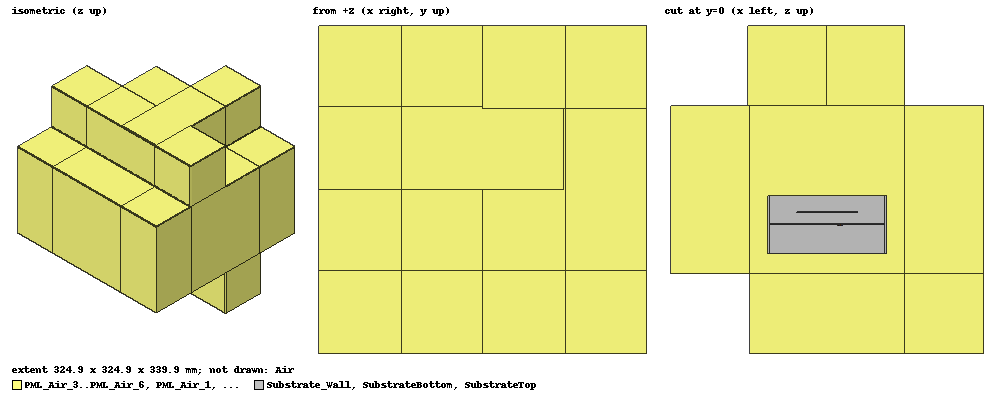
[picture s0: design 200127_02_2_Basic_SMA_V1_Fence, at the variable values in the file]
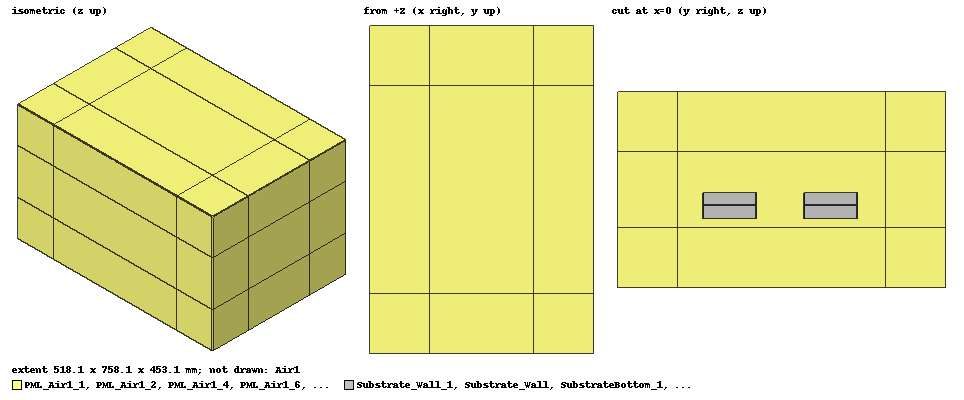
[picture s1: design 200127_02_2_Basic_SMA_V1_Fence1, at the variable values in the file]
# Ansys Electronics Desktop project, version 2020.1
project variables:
  $Er = 4.45
  $W = 10mm
  $L = 10mm
  $h = 1.6mm
  $y0 = 9mm
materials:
  FR4_new_Adj: permittivity=$Er dielectric_loss_tangent=0.019 delta_H_freq=1000000
  PMLGroup1_XYZ_9: permittivity{anisotropic component1=1.1629501 component2=1.1629501 component3=1.1629501} permeability{anisotropic component1=1.1629501 component2=1.1629501 component3=1.1629501} dielectric_loss_tangent{anisotropic component1=1 component2=1 component3=1} magnetic_loss_tangent{anisotropic component1=1 component2=1 component3=1}
  PMLGroup1_XZ_9: permittivity{anisotropic component1=1 component2=0.01 component3=1} permeability{anisotropic component1=1 component2=0.01 component3=1} dielectric_loss_tangent{anisotropic component1=0 component2=270.4906 component3=0} magnetic_loss_tangent{anisotropic component1=0 component2=270.4906 component3=0}
  PMLGroup1_YZ_9: permittivity{anisotropic component1=0.01 component2=1 component3=1} permeability{anisotropic component1=0.01 component2=1 component3=1} dielectric_loss_tangent{anisotropic component1=270.4906 component2=0 component3=0} magnetic_loss_tangent{anisotropic component1=270.4906 component2=0 component3=0}
  PMLGroup1_Z_9: permittivity{anisotropic component1=1.1629501 component2=1.1629501 component3=0.42994105} permeability{anisotropic component1=1.1629501 component2=1.1629501 component3=0.42994105} dielectric_loss_tangent{anisotropic component1=1 component2=1 component3=-1} magnetic_loss_tangent{anisotropic component1=1 component2=1 component3=-1}
  Teflon (tm): permittivity=2.1 dielectric_loss_tangent=0.001
  copper: permeability=0.999991 conductivity=58000000
  vacuum: permittivity=1
  PMLGroup1_Z_10: permittivity{anisotropic component1=1.1629501 component2=1.1629501 component3=0.42994105} permeability{anisotropic component1=1.1629501 component2=1.1629501 component3=0.42994105} dielectric_loss_tangent{anisotropic component1=1 component2=1 component3=-1} magnetic_loss_tangent{anisotropic component1=1 component2=1 component3=-1}
  PMLGroup1_XZ_10: permittivity{anisotropic component1=1 component2=0.01 component3=1} permeability{anisotropic component1=1 component2=0.01 component3=1} dielectric_loss_tangent{anisotropic component1=0 component2=270.4906 component3=0} magnetic_loss_tangent{anisotropic component1=0 component2=270.4906 component3=0}
  PMLGroup1_YZ_10: permittivity{anisotropic component1=0.01 component2=1 component3=1} permeability{anisotropic component1=0.01 component2=1 component3=1} dielectric_loss_tangent{anisotropic component1=270.4906 component2=0 component3=0} magnetic_loss_tangent{anisotropic component1=270.4906 component2=0 component3=0}
  PMLGroup1_XYZ_10: permittivity{anisotropic component1=1.1629501 component2=1.1629501 component3=1.1629501} permeability{anisotropic component1=1.1629501 component2=1.1629501 component3=1.1629501} dielectric_loss_tangent{anisotropic component1=1 component2=1 component3=1} magnetic_loss_tangent{anisotropic component1=1 component2=1 component3=1}
  PMLGroup1_Z_11: permittivity{anisotropic component1=1.1629501 component2=1.1629501 component3=0.42994105} permeability{anisotropic component1=1.1629501 component2=1.1629501 component3=0.42994105} dielectric_loss_tangent{anisotropic component1=1 component2=1 component3=-1} magnetic_loss_tangent{anisotropic component1=1 component2=1 component3=-1}
  PMLGroup1_XZ_11: permittivity{anisotropic component1=1 component2=0.01 component3=1} permeability{anisotropic component1=1 component2=0.01 component3=1} dielectric_loss_tangent{anisotropic component1=0 component2=270.4906 component3=0} magnetic_loss_tangent{anisotropic component1=0 component2=270.4906 component3=0}
  PMLGroup1_YZ_11: permittivity{anisotropic component1=0.01 component2=1 component3=1} permeability{anisotropic component1=0.01 component2=1 component3=1} dielectric_loss_tangent{anisotropic component1=270.4906 component2=0 component3=0} magnetic_loss_tangent{anisotropic component1=270.4906 component2=0 component3=0}
  PMLGroup1_XYZ_11: permittivity{anisotropic component1=1.1629501 component2=1.1629501 component3=1.1629501} permeability{anisotropic component1=1.1629501 component2=1.1629501 component3=1.1629501} dielectric_loss_tangent{anisotropic component1=1 component2=1 component3=1} magnetic_loss_tangent{anisotropic component1=1 component2=1 component3=1}
  PMLGroup2_Z_1: permittivity{anisotropic component1=1.1629501 component2=1.1629501 component3=0.42994105} permeability{anisotropic component1=1.1629501 component2=1.1629501 component3=0.42994105} dielectric_loss_tangent{anisotropic component1=1 component2=1 component3=-1} magnetic_loss_tangent{anisotropic component1=1 component2=1 component3=-1}
  PMLGroup2_XZ_1: permittivity{anisotropic component1=1 component2=0.01 component3=1} permeability{anisotropic component1=1 component2=0.01 component3=1} dielectric_loss_tangent{anisotropic component1=0 component2=270.4906 component3=0} magnetic_loss_tangent{anisotropic component1=0 component2=270.4906 component3=0}
  PMLGroup2_YZ_1: permittivity{anisotropic component1=0.01 component2=1 component3=1} permeability{anisotropic component1=0.01 component2=1 component3=1} dielectric_loss_tangent{anisotropic component1=270.4906 component2=0 component3=0} magnetic_loss_tangent{anisotropic component1=270.4906 component2=0 component3=0}
  PMLGroup2_XYZ_1: permittivity{anisotropic component1=1.1629501 component2=1.1629501 component3=1.1629501} permeability{anisotropic component1=1.1629501 component2=1.1629501 component3=1.1629501} dielectric_loss_tangent{anisotropic component1=1 component2=1 component3=1} magnetic_loss_tangent{anisotropic component1=1 component2=1 component3=1}
  PMLGroup3_Z_1: permittivity{anisotropic component1=1.1629501 component2=1.1629501 component3=0.42994105} permeability{anisotropic component1=1.1629501 component2=1.1629501 component3=0.42994105} dielectric_loss_tangent{anisotropic component1=1 component2=1 component3=-1} magnetic_loss_tangent{anisotropic component1=1 component2=1 component3=-1}
  PMLGroup3_XZ_1: permittivity{anisotropic component1=1 component2=0.01 component3=1} permeability{anisotropic component1=1 component2=0.01 component3=1} dielectric_loss_tangent{anisotropic component1=0 component2=270.4906 component3=0} magnetic_loss_tangent{anisotropic component1=0 component2=270.4906 component3=0}
  PMLGroup3_YZ_1: permittivity{anisotropic component1=0.01 component2=1 component3=1} permeability{anisotropic component1=0.01 component2=1 component3=1} dielectric_loss_tangent{anisotropic component1=270.4906 component2=0 component3=0} magnetic_loss_tangent{anisotropic component1=270.4906 component2=0 component3=0}
  PMLGroup3_XYZ_1: permittivity{anisotropic component1=1.1629501 component2=1.1629501 component3=1.1629501} permeability{anisotropic component1=1.1629501 component2=1.1629501 component3=1.1629501} dielectric_loss_tangent{anisotropic component1=1 component2=1 component3=1} magnetic_loss_tangent{anisotropic component1=1 component2=1 component3=1}
  PMLGroup1_Z_12: permittivity{anisotropic component1=1.1 component2=1.1 component3=0.45454545} permeability{anisotropic component1=1.1 component2=1.1 component3=0.45454545} dielectric_loss_tangent{anisotropic component1=1 component2=1 component3=-1} magnetic_loss_tangent{anisotropic component1=1 component2=1 component3=-1}
  PMLGroup1_XZ_12: permittivity{anisotropic component1=1 component2=0.01 component3=1} permeability{anisotropic component1=1 component2=0.01 component3=1} dielectric_loss_tangent{anisotropic component1=0 component2=242 component3=0} magnetic_loss_tangent{anisotropic component1=0 component2=242 component3=0}
  PMLGroup1_YZ_12: permittivity{anisotropic component1=0.01 component2=1 component3=1} permeability{anisotropic component1=0.01 component2=1 component3=1} dielectric_loss_tangent{anisotropic component1=242 component2=0 component3=0} magnetic_loss_tangent{anisotropic component1=242 component2=0 component3=0}
  PMLGroup1_XYZ_12: permittivity{anisotropic component1=1.1 component2=1.1 component3=1.1} permeability{anisotropic component1=1.1 component2=1.1 component3=1.1} dielectric_loss_tangent{anisotropic component1=1 component2=1 component3=1} magnetic_loss_tangent{anisotropic component1=1 component2=1 component3=1}

design 200127_02_2_Basic_SMA_V1_Fence (HFSS, DrivenModal, model units mm)
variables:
  W = 34.4mm  # optimise 16.75mm..50.25mm
  L = W
  y0 = 3mm
  Lg = 40mm
  Wg = 40mm
  del_gnd = 122.45mm
  CoaxPin_R = 0.65mm
  Copper_T = 0.035mm
  CoaxLen = 1mm
  CoaxInner_R = 2.075mm
  PCB_T = 1.55mm
  Patch1_H = PCB_T
  Probe_y = W2/2-0.7mm
  ScaleFac = 1.75
  W2 = 28.76mm  # optimise 14mm..42mm
  L2 = W2
  Patch2_H = 3.235mm
  EBG_miniY = EBG_miniX
  EBG_Gap = 0.2mm
  EBG_miniX = 6.6mm
  EBG_Y = 2*(EBG_miniY+EBG_minGap)-EBG_Gap
  Sub_Z = 3.2mm
  GND_Z = 0.035mm
  EBG_X = 2*(EBG_miniX+EBG_minGap)-EBG_Gap
  Sub_Y = EBG_Y+EBG_Gap/2
  Sub_X = EBG_X + EBG_Gap/2
  EBG_Ncells = 5
  EBG_minGap = 0.2mm
  EBG_Nrows = 1
  EBG_Rpin = 0.5mm
  EBG_minRpin = 0.8mm
  EBG_Pin_Gap = 0.7mm
  diff = 2.5mm
  aGap = 11mm
  xNum = 1
  yNum = 1
  Wp = 62.5mm
  Lp = Wp
  wh = 60mm
  wz = -30mm
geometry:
  Coax = cylinder(axis=Z, base_centre=(0, 0, 0), radius=CoaxInner_R, height=-CoaxLen)
  Air [vacuum] = box(corner=(-Wg*4/2, -Lg*4/2, -CoaxLen-50mm), size=(Wg*(xNum+3), Lg*(yNum+3), 175mm))
  Outer_conductor = cylinder(axis=Z, base_centre=(0, 0, 0), radius=CoaxInner_R+0.5mm, height=-CoaxLen)
  Coax1 = cylinder(axis=Z, base_centre=(0, 0, 0), radius=CoaxInner_R, height=-CoaxLen)
  Outer_conductor.subtract(Coax1)
  coordinate_system RelativeProbe = origin=(0mm, 0, 0mm) x=(1mm, 0mm, 0mm) y=(0mm, 1mm, 0mm)
  GND [copper] = box(corner=(-Wg*3/2, -Lg*3/2, 0mm), size=(Wg*(xNum+2), Lg*(yNum+2), -Copper_T))
  GND_Cutout = cylinder(axis=Z, base_centre=(0mm, 0mm, 0mm), radius=CoaxInner_R, height=-Copper_T)
  Coax_Pin_Dielectric_Cut = cylinder(axis=Z, base_centre=(0, 0, Patch1_H), radius=CoaxPin_R, height=-(CoaxLen+Patch1_H))
  Coax.subtract(Coax_Pin_Dielectric_Cut)
  [Coax, GND_Cutout, Outer_conductor].move(0mm, Probe_y, 0mm) in RelativeProbe
  GND_Cutout_1 = GND_Cutout.duplicate_around_axis(axis=Z, angle=-90deg, total=2) in RelativeProbe
  GND_Cutout.delete()
  Outer_conductor_1 = Outer_conductor.duplicate_around_axis(axis=Z, angle=-90deg, total=2) in RelativeProbe
  Outer_conductor.delete()
  Coax_1 [Teflon (tm)] = Coax.duplicate_around_axis(axis=Z, angle=-90deg, total=2) in RelativeProbe
  Coax.delete()
  SubstrateBottom [FR4_new_Adj] = box(corner=(-Wg*3/2, -Lg*3/2, Patch1_H), size=(Wg*(xNum+2), Lg*(yNum+2), -PCB_T))
  coordinate_system RelativeProbe1 = origin=(0mm, 0, 0mm) x=(1mm, 0mm, 0mm) y=(0mm, 1mm, 0mm)
  Cylinder5 = cylinder(axis=Z, base_centre=(0, Probe_y, 0), radius=CoaxPin_R, height=PCB_T) in RelativeProbe1
  Cylinder5.rotate(axis=Z, angle=-90deg) in RelativeProbe1
  SubstrateBottom.move(0mm, 0mm, -(Patch1_H-PCB_T))
  Patch2 [copper] = box(corner=(-W2/2, -L2/2, PCB_T), size=(W2, L2, Copper_T))
  coordinate_system RelativeProbe2 = origin=(0mm, 0, 0mm) x=(1mm, 0mm, 0mm) y=(0mm, 1mm, 0mm)
  coordinate_system RelativeProbe3 = origin=(0mm, 0, 0mm) x=(1mm, 0mm, 0mm) y=(0mm, 1mm, 0mm)
  coordinate_system RelativeProbe4 = origin=(0mm, 0, 0mm) x=(1mm, 0mm, 0mm) y=(0mm, 1mm, 0mm)
  coordinate_system RelativeProbe5 = origin=(0mm, 0, 0mm) x=(1mm, 0mm, 0mm) y=(0mm, 1mm, 0mm)
  coordinate_system RelativeProbe6 = origin=(0mm, 0, 0mm) x=(1mm, 0mm, 0mm) y=(0mm, 1mm, 0mm)
  coordinate_system RelativeProbe7 = origin=(0mm, 0, 0mm) x=(1mm, 0mm, 0mm) y=(0mm, 1mm, 0mm)
  coordinate_system RelativeProbe8 = origin=(0mm, 0, 0mm) x=(1mm, 0mm, 0mm) y=(0mm, 1mm, 0mm)
  coordinate_system RelativeProbe9 = origin=(0mm, 0, 0mm) x=(1mm, 0mm, 0mm) y=(0mm, 1mm, 0mm)
  SubstrateTop [FR4_new_Adj] = box(corner=(-Wp/2, -Lp/2, PCB_T+Copper_T+aGap), size=(Wp, Lp, PCB_T))
  coordinate_system RelativeProbe10 = origin=(0mm, 0, 0mm) x=(1mm, 0mm, 0mm) y=(0mm, 1mm, 0mm)
  Patch3 [copper] = box(corner=(-W/2, -L/2, PCB_T*2+Copper_T+aGap), size=(W, L, Copper_T))
  Coax_Pin [copper] = cylinder(axis=Z, base_centre=(0, 0, -CoaxLen), radius=CoaxPin_R, height=CoaxLen+PCB_T) in RelativeProbe9
  Coax_Pin.move(Probe_y, 0, 0mm)
  coordinate_system RelativeProbe11 = origin=(0mm, 0, 0mm) x=(1mm, 0mm, 0mm) y=(0mm, 1mm, 0mm) in RelativeProbe9
  [Coax_1, Patch3, Patch2, Coax_Pin, Outer_conductor_1, GND_Cutout_1, Cylinder5].rotate(axis=Z, angle=180deg)
  coordinate_system RelativeProbe13 = origin=(0mm, 0, 0mm) x=(1mm, 0mm, 0mm) y=(0mm, 1mm, 0mm)
  Cylinder6 = cylinder(axis=Z, base_centre=(0, Probe_y, 0), radius=CoaxPin_R, height=PCB_T) in RelativeProbe13
  Cylinder6.rotate(axis=Z, angle=-90deg) in RelativeProbe13
  Cylinder6.rotate(axis=Z, angle=270deg)
  coordinate_system RelativeProbe12 = origin=(0mm, 0, 0mm) x=(1mm, 0mm, 0mm) y=(0mm, 1mm, 0mm)
  coordinate_system RelativeProbe14 = origin=(0mm, 0, 0mm) x=(1mm, 0mm, 0mm) y=(0mm, 1mm, 0mm)
  coordinate_system RelativeProbe16 = origin=(0mm, 0, 0mm) x=(1mm, 0mm, 0mm) y=(0mm, 1mm, 0mm)
  Cylinder7 = cylinder(axis=Z, base_centre=(0, Probe_y, 0), radius=CoaxPin_R, height=PCB_T) in RelativeProbe16
  Cylinder7.rotate(axis=Z, angle=-90deg) in RelativeProbe16
  Cylinder7.rotate(axis=Z, angle=90deg)
  coordinate_system RelativeProbe15 = origin=(0mm, 0, 0mm) x=(1mm, 0mm, 0mm) y=(0mm, 1mm, 0mm)
  coordinate_system RelativeProbe17 = origin=(0mm, 0, 0mm) x=(1mm, 0mm, 0mm) y=(0mm, 1mm, 0mm)
  coordinate_system RelativeProbe19 = origin=(0mm, 0, 0mm) x=(1mm, 0mm, 0mm) y=(0mm, 1mm, 0mm)
  Cylinder8 = cylinder(axis=Z, base_centre=(0, Probe_y, 0), radius=CoaxPin_R, height=PCB_T) in RelativeProbe19
  Cylinder8.rotate(axis=Z, angle=-90deg) in RelativeProbe19
  coordinate_system RelativeProbe18 = origin=(0mm, 0, 0mm) x=(1mm, 0mm, 0mm) y=(0mm, 1mm, 0mm)
  coordinate_system RelativeProbe20 = origin=(0mm, 0, 0mm) x=(1mm, 0mm, 0mm) y=(0mm, 1mm, 0mm)
  Cylinder6.move(200mm, 0mm, 0mm)
  Cylinder7.move(0mm, 200mm, 0mm)
  Cylinder8.move(200mm, 200mm, 0mm)
  SubstrateBottom.subtract(Cylinder5..Cylinder8)
  GND.subtract(GND_Cutout_1)
  GND.unite(Outer_conductor_1)
  coordinate_system FaceCS1 = face of Air: Origin=Air.vertex(1 of 8) FaceID=Air.face(+z) AxisPosn=Air.vertex(2 of 8) WhichAxis=X ZRotationAngle=0 XOffset=0 YOffset=0
  PML_Air_1 [PMLGroup1_Z_10, oriented by FaceCS1] = sweep_along_normal(Air.face(+z), length=82.444002mm)
  coordinate_system FaceCS2 = face of Air: Origin=Air.vertex(5 of 8) FaceID=Air.face(-z) AxisPosn=Air.vertex(6 of 8) WhichAxis=X ZRotationAngle=0 XOffset=0 YOffset=0
  PML_Air_2 [PMLGroup1_Z_10, oriented by FaceCS2] = sweep_along_normal(Air.face(-z), length=82.444002mm)
  coordinate_system FaceCS3 = face of Air: Origin=Air.vertex(4 of 8) FaceID=Air.face(-y) AxisPosn=Air.vertex(7 of 8) WhichAxis=X ZRotationAngle=0 XOffset=0 YOffset=0
  PML_Air_3 [PMLGroup1_Z_10, oriented by FaceCS3] = sweep_along_normal(Air.face(-y), length=82.444002mm)
  coordinate_system FaceCS4 = face of Air: Origin=Air.vertex(3 of 8) FaceID=Air.face(-x) AxisPosn=Air.vertex(8 of 8) WhichAxis=X ZRotationAngle=0 XOffset=0 YOffset=0
  PML_Air_4 [PMLGroup1_Z_10, oriented by FaceCS4] = sweep_along_normal(Air.face(-x), length=82.444002mm)
  coordinate_system FaceCS5 = face of Air: Origin=Air.vertex(2 of 8) FaceID=Air.face(+y) AxisPosn=Air.vertex(5 of 8) WhichAxis=X ZRotationAngle=0 XOffset=0 YOffset=0
  PML_Air_5 [PMLGroup1_Z_10, oriented by FaceCS5] = sweep_along_normal(Air.face(+y), length=82.444002mm)
  coordinate_system FaceCS6 = face of Air: Origin=Air.vertex(1 of 8) FaceID=Air.face(+x) AxisPosn=Air.vertex(6 of 8) WhichAxis=X ZRotationAngle=0 XOffset=0 YOffset=0
  PML_Air_6 [PMLGroup1_Z_10, oriented by FaceCS6] = sweep_along_normal(Air.face(+x), length=82.444002mm)
  PML_Air_7 [PMLGroup1_XZ_10, oriented by FaceCS3] = sweep_along_normal(PML_Air_1.face(at (0, -80, 165.222)), length=82.444002mm)
  PML_Air_8 [PMLGroup1_XZ_10, oriented by FaceCS4] = sweep_along_normal(PML_Air_1.face(at (-80, 0, 165.222)), length=82.444002mm)
  PML_Air_9 [PMLGroup1_XZ_10, oriented by FaceCS5] = sweep_along_normal(PML_Air_1.face(at (0, 80, 165.222)), length=82.444002mm)
  PML_Air_10 [PMLGroup1_YZ_10, oriented by FaceCS1] = sweep_along_normal(PML_Air_1.face(at (80, 0, 165.222)), length=82.444002mm)
  coordinate_system FaceCS7 = face of Air: Origin=Air.vertex(6 of 8) FaceID=Air.face(-z) AxisPosn=Air.vertex(7 of 8) WhichAxis=X ZRotationAngle=0 XOffset=0 YOffset=0
  PML_Air_11 [PMLGroup1_YZ_10, oriented by FaceCS7] = sweep_along_normal(PML_Air_2.face(at (0, -80, -92.222)), length=82.444002mm)
  coordinate_system FaceCS8 = face of Air: Origin=Air.vertex(7 of 8) FaceID=Air.face(-z) AxisPosn=Air.vertex(8 of 8) WhichAxis=X ZRotationAngle=0 XOffset=0 YOffset=0
  PML_Air_12 [PMLGroup1_YZ_10, oriented by FaceCS8] = sweep_along_normal(PML_Air_2.face(at (-80, 0, -92.222)), length=82.444002mm)
  PML_Air_13 [PMLGroup1_XZ_10, oriented by FaceCS2] = sweep_along_normal(PML_Air_2.face(at (0, 80, -92.222)), length=82.444002mm)
  PML_Air_14 [PMLGroup1_YZ_10, oriented by FaceCS2] = sweep_along_normal(PML_Air_2.face(at (80, 0, -92.222)), length=82.444002mm)
  PML_Air_15 [PMLGroup1_YZ_10, oriented by FaceCS3] = sweep_along_normal(PML_Air_3.face(at (-80, -121.222, 36.5)), length=82.444002mm)
  PML_Air_16 [PMLGroup1_YZ_10, oriented by FaceCS6] = sweep_along_normal(PML_Air_3.face(at (80, -121.222, 36.5)), length=82.444002mm)
  PML_Air_17 [PMLGroup1_YZ_10, oriented by FaceCS4] = sweep_along_normal(PML_Air_4.face(at (-121.222, 80, 36.5)), length=82.444002mm)
  PML_Air_18 [PMLGroup1_YZ_10, oriented by FaceCS5] = sweep_along_normal(PML_Air_5.face(at (80, 121.222, 36.5)), length=82.444002mm)
  PML_Air_19 [PMLGroup1_XYZ_10, oriented by FaceCS3] = sweep_along_normal(PML_Air_7.face(at (-80, -121.222, 165.222)), length=82.444002mm)
  PML_Air_20 [PMLGroup1_XYZ_10, oriented by FaceCS1] = sweep_along_normal(PML_Air_7.face(at (80, -121.222, 165.222)), length=82.444002mm)
  PML_Air_21 [PMLGroup1_XYZ_10, oriented by FaceCS4] = sweep_along_normal(PML_Air_8.face(at (-121.222, 80, 165.222)), length=82.444002mm)
  PML_Air_22 [PMLGroup1_XYZ_10, oriented by FaceCS5] = sweep_along_normal(PML_Air_9.face(at (80, 121.222, 165.222)), length=82.444002mm)
  PML_Air_23 [PMLGroup1_XYZ_10, oriented by FaceCS8] = sweep_along_normal(PML_Air_11.face(at (-80, -121.222, -92.222)), length=82.444002mm)
  PML_Air_24 [PMLGroup1_XYZ_10, oriented by FaceCS7] = sweep_along_normal(PML_Air_11.face(at (80, -121.222, -92.222)), length=82.444002mm)
  coordinate_system FaceCS9 = face of Air: Origin=Air.vertex(8 of 8) FaceID=Air.face(-z) AxisPosn=Air.vertex(5 of 8) WhichAxis=X ZRotationAngle=0 XOffset=0 YOffset=0
  PML_Air_25 [PMLGroup1_XYZ_10, oriented by FaceCS9] = sweep_along_normal(PML_Air_12.face(at (-121.222, 80, -92.222)), length=82.444002mm)
  PML_Air_26 [PMLGroup1_XYZ_10, oriented by FaceCS2] = sweep_along_normal(PML_Air_13.face(at (80, 121.222, -92.222)), length=82.444002mm)
  Substrate_Wall [FR4_new_Adj] = box(corner=(-60mm-pcb_T, -60mm-PCB_T, -wh+30mm), size=(120mm+PCB_T*2, 120mm+PCB_T*2, wh))
  Substrate_Wall.move(0mm, 0mm, -(Patch1_H-PCB_T))
  Substrate_Wall1 = box(corner=(-60mm, -60mm, wz), size=(120mm, 120mm, wh))
  Substrate_Wall1.move(0mm, 0mm, -(Patch1_H-PCB_T))
  Substrate_Wall.subtract(Substrate_Wall1)
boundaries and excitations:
  PML_radiation1: Radiation Faces=Air.face(+z) IsForPML
  PML_radiation2: Radiation Faces=Air.face(-z) IsForPML
  PML_radiation3: Radiation Faces=Air.face(-y) IsForPML
  PML_radiation4: Radiation Faces=Air.face(-x) IsForPML
  PML_radiation5: Radiation Faces=Air.face(+y) IsForPML
  PML_radiation6: Radiation Faces=Air.face(+x) IsForPML
  PerfE1: Perfect E Faces=Substrate_Wall.face(at (-60, 0, 0), at (0, -60, 0), at (60, 0, 0), at (0, 60, 0))
  1: Lumped Port Faces=Coax_1.face(3 of 4) Modes{Mode1{IntLine{Coax_1.edge(3 of 4) at 0.25 along -> Coax_1.edge(2 of 4) at -0.25 along} CharImp=Zpi RenormImp=50ohm}} Impedance=50ohm
  reference conductors: GND
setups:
  Setup1: HfssDriven Frequency=2.4GHz MaxDeltaS=0.02 MaximumPasses=30 MinimumPasses=8 MinimumConvergedPasses=1 PercentRefinement=20 BasisOrder=1 PortAccuracy=2
    sweep Sweep: 2GHz to 3GHz, 21 points; Type=Discrete SaveFields
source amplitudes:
  1:1: 1W 0deg
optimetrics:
  ParametricSetup1: Parametric Sim._Setups=[Setup1]
    sweep W: LIN 28.4mm 38.4mm 2mm
  OptimizationSetup1: Optimization disabled Optimizer="Pattern Search" AnalysisStopOptions{StopForNumIteration MaxNumIteration=1000 MinNumIteration=10} CostFuncNormType=L2 Acceptable_Cost=0 Noise=0.0001 UpdateDesignWhenDone
    vary W: Min=28mm Max=34mm MinStep=0.335mm MaxStep=3.35mm MinFocus=16.75mm MaxFocus=50.25mm start=33.5mm
    vary W2: Min=26mm Max=32mm MinStep=0.28mm MaxStep=2.8mm MinFocus=14mm MaxFocus=42mm start=28mm
    goal dB(S(1,1)) <= -14 weight 1 on Setup1 : Sweep at Freq 2.35GHz to 2.55GHz
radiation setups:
  Infinite Sphere1: Infinite Sphere Theta=-180deg..180deg step 1deg Phi=-180deg..180deg step 1deg
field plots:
  Mag_E1: E Field over Patch2.face(all 6) on Setup1 : LastAdaptive at Freq=2.4GHz Phase=0deg
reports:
  Smith Chart 1: Y(1,1) on Setup1 : Sweep [Freq=all CoaxLen=all EBG_miniX=all W=all W2=all aGap=all]; markers m1 at 2.27GHz, m2 at 2.4GHz
  XY Plot 1: re(Z(1,1)) vs Freq on Setup1 : AdaptivePass [W=all CoaxLen=all W2=all EBG_miniX=all aGap=all Pass=all]; im(Z(1,1)) vs Freq on Setup1 : LastAdaptive [W=all CoaxLen=all W2=all EBG_miniX=all aGap=all]
  S Parameter Plot 1: dB(S(3,1)), dB(S(4,1)), dB(S(3,2)), dB(S(4,2)) vs Freq on Setup1 : Sweep [CoaxLen=all]
  Gain Plot 1: dB(GainTotal) vs Theta on Setup1 : LastAdaptive, Infinite Sphere1 [Phi=0deg,90deg Freq=2.4GHz aGap=all]; dB(GainTotal), dB(GainTotal) vs Theta; markers m1 at 0deg, m2 at 0deg, m3 at 179deg, m4 at -180deg
  Directivity Plot 1: dB(DirPhi)-10.544, dB(DirTheta)-10.544 vs Theta on Setup1 : Sweep, Infinite Sphere1 [Phi=0deg,90deg Freq=2.45GHz aGap=all]; markers m1 at 0deg
  S Parameter Plot 2: dB(S(1,1)) vs Freq on Setup1 : Sweep [aGap=all]
  S Parameter Plot 3: dB(S(1,1)) vs Freq on Setup1 : Sweep [W=all]

design 200127_02_2_Basic_SMA_V1_Fence1 (HFSS, DrivenModal, model units mm)
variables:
  W = 36.4mm  # optimise 16.75mm..50.25mm
  L = W
  y0 = 3mm
  Lg = 40mm
  Wg = 40mm
  del_gnd = 122.45mm
  CoaxPin_R = 0.65mm
  Copper_T = 0.035mm
  CoaxLen = 1mm
  CoaxInner_R = 2.075mm
  PCB_T = 1.55mm
  Patch1_H = PCB_T
  Probe_y = W2/2-0.7mm
  ScaleFac = 1.75
  W2 = 28.76mm  # optimise 14mm..42mm
  L2 = W2
  Patch2_H = 3.235mm
  EBG_miniY = EBG_miniX
  EBG_Gap = 0.2mm
  EBG_miniX = 6.6mm
  EBG_Y = 2*(EBG_miniY+EBG_minGap)-EBG_Gap
  Sub_Z = 3.2mm
  GND_Z = 0.035mm
  EBG_X = 2*(EBG_miniX+EBG_minGap)-EBG_Gap
  Sub_Y = EBG_Y+EBG_Gap/2
  Sub_X = EBG_X + EBG_Gap/2
  EBG_Ncells = 5
  EBG_minGap = 0.2mm
  EBG_Nrows = 1
  EBG_Rpin = 0.5mm
  EBG_minRpin = 0.8mm
  EBG_Pin_Gap = 0.7mm
  diff = 2.5mm
  aGap = 11mm
  xNum = 1
  yNum = 1
  Wp = 62.5mm
  Lp = Wp
  wh = 60mm
  wz = -30mm
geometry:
  Coax = cylinder(axis=Z, base_centre=(0, 0, 0), radius=CoaxInner_R, height=-CoaxLen)
  Outer_conductor = cylinder(axis=Z, base_centre=(0, 0, 0), radius=CoaxInner_R+0.5mm, height=-CoaxLen)
  Coax1 = cylinder(axis=Z, base_centre=(0, 0, 0), radius=CoaxInner_R, height=-CoaxLen)
  Outer_conductor.subtract(Coax1)
  coordinate_system RelativeProbe = origin=(0mm, 0, 0mm) x=(1mm, 0mm, 0mm) y=(0mm, 1mm, 0mm)
  GND [copper] = box(corner=(-Wg*3/2, -Lg*3/2, 0mm), size=(Wg*(xNum+2), Lg*(yNum+2), -Copper_T))
  GND_Cutout = cylinder(axis=Z, base_centre=(0mm, 0mm, 0mm), radius=CoaxInner_R, height=-Copper_T)
  Coax_Pin_Dielectric_Cut = cylinder(axis=Z, base_centre=(0, 0, Patch1_H), radius=CoaxPin_R, height=-(CoaxLen+Patch1_H))
  Coax.subtract(Coax_Pin_Dielectric_Cut)
  [Coax, GND_Cutout, Outer_conductor].move(0mm, Probe_y, 0mm) in RelativeProbe
  GND_Cutout_1 = GND_Cutout.duplicate_around_axis(axis=Z, angle=-90deg, total=2) in RelativeProbe
  GND_Cutout.delete()
  Outer_conductor_1 = Outer_conductor.duplicate_around_axis(axis=Z, angle=-90deg, total=2) in RelativeProbe
  Outer_conductor.delete()
  Coax_1 [Teflon (tm)] = Coax.duplicate_around_axis(axis=Z, angle=-90deg, total=2) in RelativeProbe
  Coax.delete()
  SubstrateBottom [FR4_new_Adj] = box(corner=(-Wg*3/2, -Lg*3/2, Patch1_H), size=(Wg*(xNum+2), Lg*(yNum+2), -PCB_T))
  coordinate_system RelativeProbe1 = origin=(0mm, 0, 0mm) x=(1mm, 0mm, 0mm) y=(0mm, 1mm, 0mm)
  Cylinder5 = cylinder(axis=Z, base_centre=(0, Probe_y, 0), radius=CoaxPin_R, height=PCB_T) in RelativeProbe1
  Cylinder5.rotate(axis=Z, angle=-90deg) in RelativeProbe1
  SubstrateBottom.move(0mm, 0mm, -(Patch1_H-PCB_T))
  Patch2 [copper] = box(corner=(-W2/2, -L2/2, PCB_T), size=(W2, L2, Copper_T))
  coordinate_system RelativeProbe2 = origin=(0mm, 0, 0mm) x=(1mm, 0mm, 0mm) y=(0mm, 1mm, 0mm)
  coordinate_system RelativeProbe3 = origin=(0mm, 0, 0mm) x=(1mm, 0mm, 0mm) y=(0mm, 1mm, 0mm)
  coordinate_system RelativeProbe4 = origin=(0mm, 0, 0mm) x=(1mm, 0mm, 0mm) y=(0mm, 1mm, 0mm)
  coordinate_system RelativeProbe5 = origin=(0mm, 0, 0mm) x=(1mm, 0mm, 0mm) y=(0mm, 1mm, 0mm)
  coordinate_system RelativeProbe6 = origin=(0mm, 0, 0mm) x=(1mm, 0mm, 0mm) y=(0mm, 1mm, 0mm)
  coordinate_system RelativeProbe7 = origin=(0mm, 0, 0mm) x=(1mm, 0mm, 0mm) y=(0mm, 1mm, 0mm)
  coordinate_system RelativeProbe8 = origin=(0mm, 0, 0mm) x=(1mm, 0mm, 0mm) y=(0mm, 1mm, 0mm)
  coordinate_system RelativeProbe9 = origin=(0mm, 0, 0mm) x=(1mm, 0mm, 0mm) y=(0mm, 1mm, 0mm)
  SubstrateTop [FR4_new_Adj] = box(corner=(-Wp/2, -Lp/2, PCB_T+Copper_T+aGap), size=(Wp, Lp, PCB_T))
  coordinate_system RelativeProbe10 = origin=(0mm, 0, 0mm) x=(1mm, 0mm, 0mm) y=(0mm, 1mm, 0mm)
  Patch3 [copper] = box(corner=(-W/2, -L/2, PCB_T*2+Copper_T+aGap), size=(W, L, Copper_T))
  Coax_Pin [copper] = cylinder(axis=Z, base_centre=(0, 0, -CoaxLen), radius=CoaxPin_R, height=CoaxLen+PCB_T) in RelativeProbe9
  Coax_Pin.move(Probe_y, 0, 0mm)
  coordinate_system RelativeProbe11 = origin=(0mm, 0, 0mm) x=(1mm, 0mm, 0mm) y=(0mm, 1mm, 0mm) in RelativeProbe9
  [Coax_1, Patch3, Patch2, Coax_Pin, Outer_conductor_1, GND_Cutout_1, Cylinder5].rotate(axis=Z, angle=180deg)
  coordinate_system RelativeProbe13 = origin=(0mm, 0, 0mm) x=(1mm, 0mm, 0mm) y=(0mm, 1mm, 0mm)
  Cylinder6 = cylinder(axis=Z, base_centre=(0, Probe_y, 0), radius=CoaxPin_R, height=PCB_T) in RelativeProbe13
  Cylinder6.rotate(axis=Z, angle=-90deg) in RelativeProbe13
  Cylinder6.rotate(axis=Z, angle=270deg)
  coordinate_system RelativeProbe12 = origin=(0mm, 0, 0mm) x=(1mm, 0mm, 0mm) y=(0mm, 1mm, 0mm)
  coordinate_system RelativeProbe14 = origin=(0mm, 0, 0mm) x=(1mm, 0mm, 0mm) y=(0mm, 1mm, 0mm)
  coordinate_system RelativeProbe16 = origin=(0mm, 0, 0mm) x=(1mm, 0mm, 0mm) y=(0mm, 1mm, 0mm)
  Cylinder7 = cylinder(axis=Z, base_centre=(0, Probe_y, 0), radius=CoaxPin_R, height=PCB_T) in RelativeProbe16
  Cylinder7.rotate(axis=Z, angle=-90deg) in RelativeProbe16
  Cylinder7.rotate(axis=Z, angle=90deg)
  coordinate_system RelativeProbe15 = origin=(0mm, 0, 0mm) x=(1mm, 0mm, 0mm) y=(0mm, 1mm, 0mm)
  coordinate_system RelativeProbe17 = origin=(0mm, 0, 0mm) x=(1mm, 0mm, 0mm) y=(0mm, 1mm, 0mm)
  coordinate_system RelativeProbe19 = origin=(0mm, 0, 0mm) x=(1mm, 0mm, 0mm) y=(0mm, 1mm, 0mm)
  Cylinder8 = cylinder(axis=Z, base_centre=(0, Probe_y, 0), radius=CoaxPin_R, height=PCB_T) in RelativeProbe19
  Cylinder8.rotate(axis=Z, angle=-90deg) in RelativeProbe19
  coordinate_system RelativeProbe18 = origin=(0mm, 0, 0mm) x=(1mm, 0mm, 0mm) y=(0mm, 1mm, 0mm)
  coordinate_system RelativeProbe20 = origin=(0mm, 0, 0mm) x=(1mm, 0mm, 0mm) y=(0mm, 1mm, 0mm)
  Cylinder6.move(200mm, 0mm, 0mm)
  Cylinder7.move(0mm, 200mm, 0mm)
  Cylinder8.move(200mm, 200mm, 0mm)
  SubstrateBottom.subtract(Cylinder5..Cylinder8)
  GND.subtract(GND_Cutout_1)
  GND.unite(Outer_conductor_1)
  Substrate_Wall [FR4_new_Adj] = box(corner=(-60mm-pcb_T, -60mm-PCB_T, -wh+30mm), size=(120mm+PCB_T*2, 120mm+PCB_T*2, wh))
  Substrate_Wall.move(0mm, 0mm, -(Patch1_H-PCB_T))
  Substrate_Wall1 = box(corner=(-60mm, -60mm, wz), size=(120mm, 120mm, wh))
  Substrate_Wall1.move(0mm, 0mm, -(Patch1_H-PCB_T))
  Substrate_Wall.subtract(Substrate_Wall1)
  GND_1 [copper] = GND.duplicate_along_line(step=(233.2mm, 0mm, 0mm), total=2)
  Coax_1_1 [Teflon (tm)] = Coax_1.duplicate_along_line(step=(233.2mm, 0mm, 0mm), total=2)
  SubstrateBottom_1 [FR4_new_Adj] = SubstrateBottom.duplicate_along_line(step=(233.2mm, 0mm, 0mm), total=2)
  Patch2_1 [copper] = Patch2.duplicate_along_line(step=(233.2mm, 0mm, 0mm), total=2)
  SubstrateTop_1 [FR4_new_Adj] = SubstrateTop.duplicate_along_line(step=(233.2mm, 0mm, 0mm), total=2)
  Patch3_1 [copper] = Patch3.duplicate_along_line(step=(233.2mm, 0mm, 0mm), total=2)
  Coax_Pin_1 [copper] = Coax_Pin.duplicate_along_line(step=(233.2mm, 0mm, 0mm), total=2)
  Substrate_Wall_1 [FR4_new_Adj] = Substrate_Wall.duplicate_along_line(step=(233.2mm, 0mm, 0mm), total=2)
  [Coax_1_1, SubstrateTop_1, SubstrateBottom_1, Substrate_Wall_1, Patch3_1, Patch2_1, GND_1, Coax_Pin_1].rotate(axis=Z, angle=90deg)
  Air1 [vacuum] = box(corner=(-120mm, -120mm, -CoaxLen-50mm), size=(240mm, 480mm, 175mm))
  coordinate_system FaceCS1 = face of Air1: Origin=Air1.vertex(1 of 8) FaceID=Air1.face(+z) AxisPosn=Air1.vertex(2 of 8) WhichAxis=X ZRotationAngle=0deg XOffset=0mm YOffset=0mm
  PML_Air1_1 [PMLGroup1_Z_12, oriented by FaceCS1] = sweep_along_normal(Air1.face(+z), length=139.02963mm)
  coordinate_system FaceCS2 = face of Air1: Origin=Air1.vertex(5 of 8) FaceID=Air1.face(-z) AxisPosn=Air1.vertex(6 of 8) WhichAxis=X ZRotationAngle=0deg XOffset=0mm YOffset=0mm
  PML_Air1_2 [PMLGroup1_Z_12, oriented by FaceCS2] = sweep_along_normal(Air1.face(-z), length=139.02963mm)
  coordinate_system FaceCS3 = face of Air1: Origin=Air1.vertex(4 of 8) FaceID=Air1.face(-y) AxisPosn=Air1.vertex(7 of 8) WhichAxis=X ZRotationAngle=0deg XOffset=0mm YOffset=0mm
  PML_Air1_3 [PMLGroup1_Z_12, oriented by FaceCS3] = sweep_along_normal(Air1.face(-y), length=139.02963mm)
  coordinate_system FaceCS4 = face of Air1: Origin=Air1.vertex(3 of 8) FaceID=Air1.face(-x) AxisPosn=Air1.vertex(8 of 8) WhichAxis=X ZRotationAngle=0deg XOffset=0mm YOffset=0mm
  PML_Air1_4 [PMLGroup1_Z_12, oriented by FaceCS4] = sweep_along_normal(Air1.face(-x), length=139.02963mm)
  coordinate_system FaceCS5 = face of Air1: Origin=Air1.vertex(2 of 8) FaceID=Air1.face(+y) AxisPosn=Air1.vertex(5 of 8) WhichAxis=X ZRotationAngle=0deg XOffset=0mm YOffset=0mm
  PML_Air1_5 [PMLGroup1_Z_12, oriented by FaceCS5] = sweep_along_normal(Air1.face(+y), length=139.02963mm)
  coordinate_system FaceCS6 = face of Air1: Origin=Air1.vertex(1 of 8) FaceID=Air1.face(+x) AxisPosn=Air1.vertex(6 of 8) WhichAxis=X ZRotationAngle=0deg XOffset=0mm YOffset=0mm
  PML_Air1_6 [PMLGroup1_Z_12, oriented by FaceCS6] = sweep_along_normal(Air1.face(+x), length=139.02963mm)
  PML_Air1_7 [PMLGroup1_XZ_12, oriented by FaceCS3] = sweep_along_normal(PML_Air1_1.face(at (0, -120, 193.515)), length=139.02963mm)
  PML_Air1_8 [PMLGroup1_XZ_12, oriented by FaceCS4] = sweep_along_normal(PML_Air1_1.face(at (-120, 120, 193.515)), length=139.02963mm)
  PML_Air1_9 [PMLGroup1_XZ_12, oriented by FaceCS5] = sweep_along_normal(PML_Air1_1.face(at (0, 360, 193.515)), length=139.02963mm)
  PML_Air1_10 [PMLGroup1_YZ_12, oriented by FaceCS1] = sweep_along_normal(PML_Air1_1.face(at (120, 120, 193.515)), length=139.02963mm)
  coordinate_system FaceCS7 = face of Air1: Origin=Air1.vertex(6 of 8) FaceID=Air1.face(-z) AxisPosn=Air1.vertex(7 of 8) WhichAxis=X ZRotationAngle=0deg XOffset=0mm YOffset=0mm
  PML_Air1_11 [PMLGroup1_YZ_12, oriented by FaceCS7] = sweep_along_normal(PML_Air1_2.face(at (0, -120, -120.515)), length=139.02963mm)
  coordinate_system FaceCS8 = face of Air1: Origin=Air1.vertex(7 of 8) FaceID=Air1.face(-z) AxisPosn=Air1.vertex(8 of 8) WhichAxis=X ZRotationAngle=0deg XOffset=0mm YOffset=0mm
  PML_Air1_12 [PMLGroup1_YZ_12, oriented by FaceCS8] = sweep_along_normal(PML_Air1_2.face(at (-120, 120, -120.515)), length=139.02963mm)
  PML_Air1_13 [PMLGroup1_XZ_12, oriented by FaceCS2] = sweep_along_normal(PML_Air1_2.face(at (0, 360, -120.515)), length=139.02963mm)
  PML_Air1_14 [PMLGroup1_YZ_12, oriented by FaceCS2] = sweep_along_normal(PML_Air1_2.face(at (120, 120, -120.515)), length=139.02963mm)
  PML_Air1_15 [PMLGroup1_YZ_12, oriented by FaceCS3] = sweep_along_normal(PML_Air1_3.face(at (-120, -189.515, 36.5)), length=139.02963mm)
  PML_Air1_16 [PMLGroup1_YZ_12, oriented by FaceCS6] = sweep_along_normal(PML_Air1_3.face(at (120, -189.515, 36.5)), length=139.02963mm)
  PML_Air1_17 [PMLGroup1_YZ_12, oriented by FaceCS4] = sweep_along_normal(PML_Air1_4.face(at (-189.515, 360, 36.5)), length=139.02963mm)
  PML_Air1_18 [PMLGroup1_YZ_12, oriented by FaceCS5] = sweep_along_normal(PML_Air1_5.face(at (120, 429.515, 36.5)), length=139.02963mm)
  PML_Air1_19 [PMLGroup1_XYZ_12, oriented by FaceCS3] = sweep_along_normal(PML_Air1_7.face(at (-120, -189.515, 193.515)), length=139.02963mm)
  PML_Air1_20 [PMLGroup1_XYZ_12, oriented by FaceCS1] = sweep_along_normal(PML_Air1_7.face(at (120, -189.515, 193.515)), length=139.02963mm)
  PML_Air1_21 [PMLGroup1_XYZ_12, oriented by FaceCS4] = sweep_along_normal(PML_Air1_8.face(at (-189.515, 360, 193.515)), length=139.02963mm)
  PML_Air1_22 [PMLGroup1_XYZ_12, oriented by FaceCS5] = sweep_along_normal(PML_Air1_9.face(at (120, 429.515, 193.515)), length=139.02963mm)
  PML_Air1_23 [PMLGroup1_XYZ_12, oriented by FaceCS8] = sweep_along_normal(PML_Air1_11.face(at (-120, -189.515, -120.515)), length=139.02963mm)
  PML_Air1_24 [PMLGroup1_XYZ_12, oriented by FaceCS7] = sweep_along_normal(PML_Air1_11.face(at (120, -189.515, -120.515)), length=139.02963mm)
  coordinate_system FaceCS9 = face of Air1: Origin=Air1.vertex(8 of 8) FaceID=Air1.face(-z) AxisPosn=Air1.vertex(5 of 8) WhichAxis=X ZRotationAngle=0deg XOffset=0mm YOffset=0mm
  PML_Air1_25 [PMLGroup1_XYZ_12, oriented by FaceCS9] = sweep_along_normal(PML_Air1_12.face(at (-189.515, 360, -120.515)), length=139.02963mm)
  PML_Air1_26 [PMLGroup1_XYZ_12, oriented by FaceCS2] = sweep_along_normal(PML_Air1_13.face(at (120, 429.515, -120.515)), length=139.02963mm)
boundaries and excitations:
  PerfE1: Perfect E Faces=Substrate_Wall.face(at (-60, 0, 0), at (0, -60, 0), at (60, 0, 0), at (0, 60, 0))
  PerfE2: Perfect E Faces=Substrate_Wall_1.face(3 of 10, 2 of 10, 4 of 10, 1 of 10)
  PML_radiation1: Radiation Faces=Air1.face(+z) IsForPML
  PML_radiation2: Radiation Faces=Air1.face(-z) IsForPML
  PML_radiation3: Radiation Faces=Air1.face(-y) IsForPML
  PML_radiation4: Radiation Faces=Air1.face(-x) IsForPML
  PML_radiation5: Radiation Faces=Air1.face(+y) IsForPML
  PML_radiation6: Radiation Faces=Air1.face(+x) IsForPML
  1: Lumped Port Faces=Coax_1.face(3 of 4) Modes{Mode1{IntLine{Coax_1.edge(3 of 4) at 0.25 along -> Coax_1.edge(2 of 4) at -0.25 along} CharImp=Zpi RenormImp=50ohm}} Impedance=50ohm
  2: Lumped Port Faces=Coax_1_1.face(3 of 4) Modes{Mode1{IntLine{Coax_1_1.edge(3 of 4) at 0.25 along -> Coax_1_1.edge(2 of 4) at -0.25 along} CharImp=Zpi RenormImp=50ohm}} Impedance=50ohm
  reference conductors: GND
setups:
  Setup1: HfssDriven Frequency=2.4GHz MaxDeltaS=0.02 MaximumPasses=30 MinimumPasses=7 MinimumConvergedPasses=1 PercentRefinement=20 BasisOrder=1 PortAccuracy=2
    sweep Sweep: 2GHz to 3GHz, 21 points; Type=Discrete SaveFields
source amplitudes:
  1:1: 1W 0deg
  2:1: 0W 0deg
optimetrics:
  ParametricSetup1: Parametric Sim._Setups=[Setup1]
    sweep W: LIN 34.4mm 36.4mm 2mm
  OptimizationSetup1: Optimization disabled Optimizer="Pattern Search" AnalysisStopOptions{StopForNumIteration MaxNumIteration=1000 MinNumIteration=10} CostFuncNormType=L2 Acceptable_Cost=0 Noise=0.0001 UpdateDesignWhenDone
    vary W: Min=28mm Max=34mm MinStep=0.335mm MaxStep=3.35mm MinFocus=16.75mm MaxFocus=50.25mm start=33.5mm
    vary W2: Min=26mm Max=32mm MinStep=0.28mm MaxStep=2.8mm MinFocus=14mm MaxFocus=42mm start=28mm
    goal dB(S(1,1)) <= -14 weight 1 on Setup1 : Sweep at Freq 2.35GHz to 2.55GHz
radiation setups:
  Infinite Sphere1: Infinite Sphere Theta=-180deg..180deg step 1deg Phi=-180deg..180deg step 1deg
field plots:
  Mag_E1: E Field over Patch2.face(all 6) on Setup1 : LastAdaptive at Freq=2.4GHz Phase=0deg
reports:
  Smith Chart 1: S(1,1) on Setup1 : Sweep [Freq=all CoaxLen=all EBG_miniX=all W=all W2=all aGap=all]; markers m1 at 2.27GHz, m2 at 2.4GHz, m3 at 2.4GHz
  XY Plot 1: re(Z(1,1)), im(Z(1,1)) vs Freq on Setup1 : Sweep [W=all CoaxLen=all W2=all EBG_miniX=all aGap=all]
  S Parameter Plot 1: dB(S(2,1)) vs Freq on Setup1 : Sweep [CoaxLen=all]
  Gain Plot 1: dB(GainTotal), dB(GainTotal) vs Theta; markers m2 at 0deg, m4 at -180deg
  S Parameter Plot 2: dB(S(1,1)), dB(S(2,2)) vs Freq on Setup1 : Sweep [aGap=all]
  Gain Plot 2: dB(GainTotal) vs Theta on Setup1 : LastAdaptive, Infinite Sphere1 [Phi=0deg,90deg Freq=2.4GHz W=all]; markers m1 at 0deg, m2 at -180deg, m3 at 89deg, m4 at -90deg
  S Parameter Plot 3: dB(S(2,1)) vs Freq on Setup1 : Sweep [W=all]
  S Parameter Plot 4: dB(S(1,1)) vs Freq on Setup1 : Sweep [W=all]
